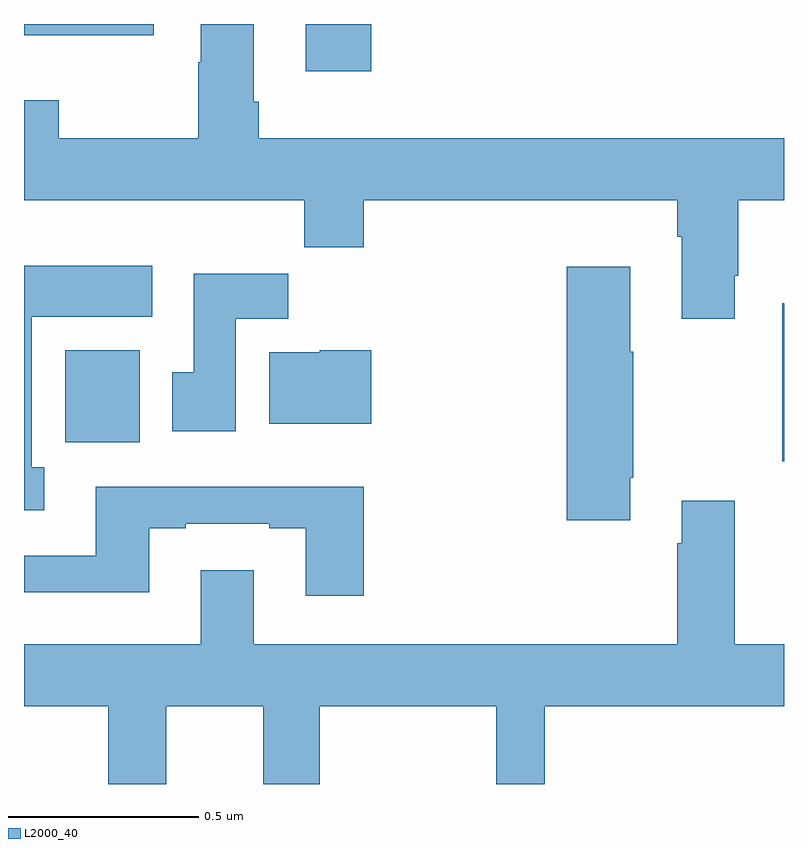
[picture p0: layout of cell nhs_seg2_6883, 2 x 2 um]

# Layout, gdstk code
import gdstk
lib = gdstk.Library(unit=1e-6, precision=1e-09)
def R(c, l, rs):  # rectangles x0, y0, x1, y1
    for r in rs: c.add(gdstk.rectangle(r[:2], r[2:], *l))
def P(c, l, *ps):  # polygons
    for p in ps: c.add(gdstk.Polygon(p, *l))
L2000_40 = (2000, 40)

nhs_seg2_6883 = lib.new_cell('nhs_seg2_6883')
R(nhs_seg2_6883, L2000_40, [(198.996,613.649,199,614.065), (197.108,613.7,197.305,613.942), (197.741,614.676,197.914,614.8), (197,614.771,197.341,614.8)])
P(nhs_seg2_6883, L2000_40, [(198.871,614.137),(198.879,614.137),(198.879,614.336),(199,614.336),(199,614.5),(197.618,614.5),(197.618,614.596),(197.605,614.596),(197.605,614.8),(197.465,614.8),(197.465,614.699),(197.458,614.699),(197.458,614.5),(197.091,614.5),(197.091,614.599),(197,614.599),(197,614.336),(197.737,614.336),(197.737,614.212),(197.894,614.212),(197.894,614.336),(198.719,614.336),(198.719,614.24),(198.731,614.24),(198.731,614.025),(198.871,614.025)],
  [(197.053,613.634),(197.02,613.634),(197.02,614.03),(197.338,614.03),(197.338,614.164),(197,614.164),(197,613.521),(197.053,613.521)],
  [(198.595,613.606),(198.603,613.606),(198.603,613.937),(198.595,613.937),(198.595,614.161),(198.428,614.161),(198.428,613.494),(198.595,613.494)],
  [(197.557,614.024),(197.696,614.024),(197.696,614.143),(197.447,614.143),(197.447,613.884),(197.39,613.884),(197.39,613.728),(197.557,613.728)],
  [(197.914,613.942),(197.778,613.942),(197.778,613.936),(197.645,613.936),(197.645,613.748),(197.914,613.748)],
  [(197.894,613.582),(197.189,613.582),(197.189,613.401),(197,613.401),(197,613.304),(197.329,613.304),(197.329,613.473),(197.425,613.473),(197.425,613.485),(197.645,613.485),(197.645,613.473),(197.741,613.473),(197.741,613.296),(197.894,613.296)],
  [(197.605,613.363),(197.465,613.363),(197.465,613.168),(197,613.168),(197,613.004),(197.222,613.004),(197.222,612.8),(197.374,612.8),(197.374,613.004),(197.63,613.004),(197.63,612.8),(197.778,612.8),(197.778,613.004),(198.243,613.004),(198.243,612.8),(198.371,612.8),(198.371,613.004),(199,613.004),(199,613.168),(198.871,613.168),(198.871,613.546),(198.731,613.546),(198.731,613.433),(198.719,613.433),(198.719,613.168),(197.605,613.168)])

lib.write_gds('nhs_seg2_6883.gds')
